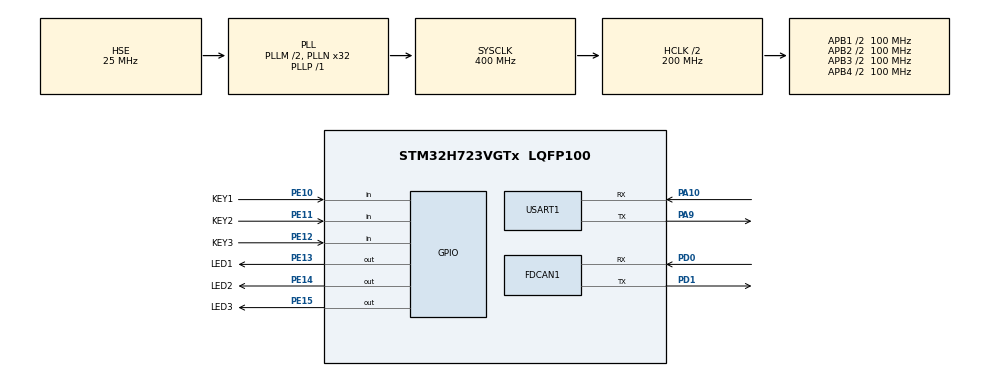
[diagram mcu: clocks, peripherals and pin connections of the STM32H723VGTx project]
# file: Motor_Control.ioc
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CORTEX_M7.default_mode_Activation=1
Dma.Request0=USART1_TX
Dma.Request1=USART1_RX
Dma.USART1_RX.1.Direction=DMA_PERIPH_TO_MEMORY
Dma.USART1_RX.1.EventEnable=DISABLE
Dma.USART1_RX.1.FIFOMode=DMA_FIFOMODE_DISABLE
Dma.USART1_RX.1.Instance=DMA1_Stream1
Dma.USART1_RX.1.MemDataAlignment=DMA_MDATAALIGN_BYTE
Dma.USART1_RX.1.MemInc=DMA_MINC_ENABLE
Dma.USART1_RX.1.Mode=DMA_NORMAL
Dma.USART1_RX.1.PeriphDataAlignment=DMA_PDATAALIGN_BYTE
Dma.USART1_RX.1.PeriphInc=DMA_PINC_DISABLE
Dma.USART1_RX.1.Polarity=HAL_DMAMUX_REQ_GEN_RISING
Dma.USART1_RX.1.Priority=DMA_PRIORITY_LOW
Dma.USART1_RX.1.RequestNumber=1
Dma.USART1_RX.1.SignalID=NONE
Dma.USART1_RX.1.SyncEnable=DISABLE
Dma.USART1_RX.1.SyncPolarity=HAL_DMAMUX_SYNC_NO_EVENT
Dma.USART1_RX.1.SyncRequestNumber=1
Dma.USART1_RX.1.SyncSignalID=NONE
Dma.USART1_TX.0.Direction=DMA_MEMORY_TO_PERIPH
Dma.USART1_TX.0.EventEnable=DISABLE
Dma.USART1_TX.0.FIFOMode=DMA_FIFOMODE_DISABLE
Dma.USART1_TX.0.Instance=DMA1_Stream0
Dma.USART1_TX.0.MemDataAlignment=DMA_MDATAALIGN_BYTE
Dma.USART1_TX.0.MemInc=DMA_MINC_ENABLE
Dma.USART1_TX.0.Mode=DMA_NORMAL
Dma.USART1_TX.0.PeriphDataAlignment=DMA_PDATAALIGN_BYTE
Dma.USART1_TX.0.PeriphInc=DMA_PINC_DISABLE
Dma.USART1_TX.0.Polarity=HAL_DMAMUX_REQ_GEN_RISING
Dma.USART1_TX.0.Priority=DMA_PRIORITY_LOW
Dma.USART1_TX.0.RequestNumber=1
Dma.USART1_TX.0.SignalID=NONE
Dma.USART1_TX.0.SyncEnable=DISABLE
Dma.USART1_TX.0.SyncPolarity=HAL_DMAMUX_SYNC_NO_EVENT
Dma.USART1_TX.0.SyncRequestNumber=1
Dma.USART1_TX.0.SyncSignalID=NONE
FDCAN1.AutoRetransmission=DISABLE
FDCAN1.CalculateBaudRateNominal=1000000
FDCAN1.CalculateTimeBitNominal=1000
FDCAN1.CalculateTimeQuantumNominal=25.0
FDCAN1.DataPrescaler=1
FDCAN1.DataTimeSeg1=1
FDCAN1.DataTimeSeg2=1
FDCAN1.ExtFiltersNbr=1
FDCAN1.FrameFormat=FDCAN_FRAME_CLASSIC
FDCAN1.Mode=FDCAN_MODE_NORMAL
FDCAN1.NominalPrescaler=2
FDCAN1.NominalSyncJumpWidth=8
FDCAN1.NominalTimeSeg1=31
FDCAN1.NominalTimeSeg2=8
FDCAN1.RxBuffersNbr=0
FDCAN1.RxFifo0ElmtsNbr=1
FDCAN1.RxFifo1ElmtsNbr=0
FDCAN1.TxFifoQueueElmtsNbr=1
Mcu.Family=STM32H7
Mcu.Name=STM32H723VGTx
Mcu.Package=LQFP100
NVIC.DMA1_Stream0_IRQn=true\:0\:0\:false\:false\:true\:false\:true\:true
NVIC.DMA1_Stream1_IRQn=true\:0\:0\:false\:false\:true\:false\:true\:true
NVIC.FDCAN1_IT0_IRQn=true\:0\:0\:false\:false\:true\:true\:true\:true
NVIC.PriorityGroup=NVIC_PRIORITYGROUP_4
NVIC.USART1_IRQn=true\:0\:0\:false\:false\:true\:true\:true\:true
PA10.Mode=Asynchronous
PA10.Signal=USART1_RX
PA9.Mode=Asynchronous
PA9.Signal=USART1_TX
PD0.GPIO_PuPd=GPIO_PULLUP
PD0.GPIO_Speed=GPIO_SPEED_FREQ_HIGH
PD0.Mode=FDCAN_Activate
PD0.Signal=FDCAN1_RX
PD1.GPIO_PuPd=GPIO_PULLUP
PD1.GPIO_Speed=GPIO_SPEED_FREQ_HIGH
PD1.Mode=FDCAN_Activate
PD1.Signal=FDCAN1_TX
PE10.GPIO_Label=KEY1
PE10.GPIO_PuPd=GPIO_PULLUP
PE10.Signal=GPIO_Input
PE11.GPIO_Label=KEY2
PE11.GPIO_PuPd=GPIO_PULLUP
PE11.Signal=GPIO_Input
PE12.GPIO_Label=KEY3
PE12.GPIO_PuPd=GPIO_PULLUP
PE12.Signal=GPIO_Input
PE13.GPIO_Label=LED1
PE13.PinState=GPIO_PIN_SET
PE13.Signal=GPIO_Output
PE14.GPIO_Label=LED2
PE14.GPIO_PuPd=GPIO_NOPULL
PE14.PinState=GPIO_PIN_SET
PE14.Signal=GPIO_Output
PE15.GPIO_Label=LED3
PE15.PinState=GPIO_PIN_SET
PE15.Signal=GPIO_Output
PH0-OSC_IN.Mode=HSE-External-Oscillator
PH0-OSC_IN.Signal=RCC_OSC_IN
PH1-OSC_OUT.Mode=HSE-External-Oscillator
PH1-OSC_OUT.Signal=RCC_OSC_OUT
ProjectManager.HeapSize=0x200
ProjectManager.StackSize=0x400
ProjectManager.TargetToolchain=MDK-ARM V5.32
RCC.ADCFreq_Value=100000000
RCC.APB1Freq_Value=100000000
RCC.APB2Freq_Value=100000000
RCC.APB3Freq_Value=100000000
RCC.APB4Freq_Value=100000000
RCC.CortexFreq_Value=400000000
RCC.D1PPRE=RCC_APB3_DIV2
RCC.D2PPRE1=RCC_APB1_DIV2
RCC.D2PPRE2=RCC_APB2_DIV2
RCC.D3PPRE=RCC_APB4_DIV2
RCC.DIVM1=2
RCC.DIVM2=2
RCC.DIVN1=32
RCC.DIVN2=16
RCC.DIVP1=1
RCC.DIVQ1=5
RCC.DIVQ2=4
RCC.HCLKFreq_Value=200000000
RCC.HPRE=RCC_HCLK_DIV2
RCC.PLL2FRACN=0
RCC.PLL3FRACN=0
RCC.PLLFRACN=0
RCC.PLLSourceVirtual=RCC_PLLSOURCE_HSE
RCC.SYSCLKFreq_VALUE=400000000
RCC.SYSCLKSource=RCC_SYSCLKSOURCE_PLLCLK
RCC.USBFreq_Value=80000000
USART1.VirtualMode-Asynchronous=VM_ASYNC
VP_MEMORYMAP_VS_MEMORYMAP.Mode=CurAppReg
board=custom

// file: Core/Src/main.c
/* USER CODE BEGIN Header */
/**
  ******************************************************************************
  * @file           : main.c
  * @brief          : Main program body
  ******************************************************************************
  * @attention
  *
  * Copyright (c) 2026 STMicroelectronics.
  * All rights reserved.
  *
  * This software is licensed under terms that can be found in the LICENSE file
  * in the root directory of this software component.
  * If no LICENSE file comes with this software, it is provided AS-IS.
  *
  ******************************************************************************
  */
/* USER CODE END Header */
#include "main.h"
#include "dma.h"
#include "fdcan.h"
#include "usart.h"
#include "gpio.h"
#include "RobStride.h"
/* USER CODE BEGIN Includes */
#include <string.h>
#include <stdio.h>
/* USER CODE END Includes */

/* USER CODE BEGIN PTD */
#define MASTER_ID 0xFD
#define MOTOR_ID 0x7F // 你的电机ID=127
// 电机使能运行ID（通信类型3）
#define MOTOR_ENABLE_ID ((0x03 << 24) | (0x00 << 16) | (MASTER_ID << 8) | MOTOR_ID)
// 运控模式控制ID（通信类型1）
#define MOTOR_CONTROL_ID ((0x01 << 24) | (0x00 << 16) | (MASTER_ID << 8) | MOTOR_ID)
// 测试帧ID（保留调试用）
#define TEST_FRAME_ID ((0x12 << 24) | (0x00 << 16) | (MASTER_ID << 8) | MOTOR_ID)

// AT帧格式：[0x41,0x54] + [4字节CAN_ID] + [1字节数据长度] + [N字节数据] + [0x0D,0x0A]
#define AT_FRAME_HEAD_1 0x41
#define AT_FRAME_HEAD_2 0x54
#define AT_FRAME_TAIL_1 0x0D
#define AT_FRAME_TAIL_2 0x0A
#define AT_FRAME_MAX_LEN 32 // 最大帧长度

// 官方库通信类型定义（和手册完全一致）
#define COMM_TYPE_MotionControl     0x01
#define COMM_TYPE_FEEDBACK  0x02  // 电机反馈
#define COMM_TYPE_ENABLE    0x03  // 电机使能
#define COMM_TYPE_DISABLE   0x04  // 电机失能
#define COMM_TYPE_SetPosZero        0x06
#define COMM_TYPE_Can_ID            0x07

#define COMM_TYPE_GET_PARAM 0x11  // 单个参数读取
#define COMM_TYPE_SET_PARAM 0x12  // 单个参数写入

// 参数索引定义（来自官方库参数表）
#define PARAM_RUN_MODE      0x7005  // 运行模式
#define TARGET_CURRENT      0x7006
#define PARAM_SPD_REF       0x700A  // 速度指令
#define PARAM_LOC_REF       0x7016  // 位置指令
#define PARAM_LIMIT_SPEED   0x7017
#define PARAM_LIMIT_CUR     0x7018  // 电流限制

// 运行模式定义
#define MODE_MOTION         0  // 运控模式
#define MODE_POSITION       1  // 位置模式
#define MODE_SPEED          2  // 速度模式
#define MODE_CURRENT        3  // 电流模式
#define MODE_Set_Zero       4

// AT帧解析状态机
typedef enum {
    AT_STATE_WAIT_HEAD1,
    AT_STATE_WAIT_HEAD2,
    AT_STATE_READ_CAN_ID,
    AT_STATE_READ_LEN,
    AT_STATE_READ_DATA,
    AT_STATE_WAIT_TAIL1,
    AT_STATE_WAIT_TAIL2
} AT_ParseState;

// AT帧结构体
typedef struct {
    uint32_t can_id;
    uint8_t data_len;
    uint8_t data[8];
} AT_Frame;

int fputc(int ch, FILE *f)
{
    HAL_UART_Transmit(&huart1, (uint8_t *)&ch, 1, 100);
    return ch;
}

/* USER CODE END PTD */

/* USER CODE BEGIN PV */
// AT帧解析相关
uint8_t at_rx_buf[AT_FRAME_MAX_LEN];
uint8_t at_rx_ptr = 0;
AT_ParseState at_parse_state = AT_STATE_WAIT_HEAD1;
AT_Frame at_rx_frame;

uint8_t receiveData[50];

uint8_t pRxdata[8], pTxdata[8];
RobStride_Motor RobStride_01(0x7F, false);

uint8_t mode = 0;

	// FDCAN全局变量
uint8_t FDCAN_RxData[8];
uint32_t FDCAN_RxId;
uint8_t FDCAN_RxLen;
uint8_t FDCAN_RxFlag = 0;
/* USER CODE END PV */

void SystemClock_Config(void);
static void MPU_Config(void);
/* USER CODE BEGIN PFP */

extern DMA_HandleTypeDef hdma_usart1_rx;

// 发送AT帧到串口
void AT_SendFrame(uint32_t can_id, uint8_t *data, uint8_t len)
{
    uint8_t buf[AT_FRAME_MAX_LEN];
    buf[0] = AT_FRAME_HEAD_1;
    buf[1] = AT_FRAME_HEAD_2;
    // CAN_ID大端序（和厂家一致）
    buf[2] = (can_id >> 24) & 0xFF;
    buf[3] = (can_id >> 16) & 0xFF;
    buf[4] = (can_id >> 8) & 0xFF;
    buf[5] = can_id & 0xFF;
    buf[6] = len;
    // 数据
    memcpy(&buf[7], data, len);
    // 帧尾
    buf[7 + len] = AT_FRAME_TAIL_1;
    buf[8 + len] = AT_FRAME_TAIL_2;
    // 发送
    HAL_UART_Transmit_DMA(&huart1, buf, 9 + len);
}

//CAN
/************************** FDCAN核心函数 **************************/
/**
 * @brief  FDCAN发送经典CAN 2.0B扩展帧
 * @param  can_id 29位扩展ID（高3位为0）
 * @param  data 数据指针（0~8字节）
 * @param  len 数据长度
 * @retval 0成功，1失败
 */
uint8_t FDCAN_SendExtFrame(uint32_t can_id, uint8_t *data, uint8_t len)
{
     FDCAN_TxHeaderTypeDef TxHeader = {0};
    if (len > 8) return 1;
    if (HAL_FDCAN_GetTxFifoFreeLevel(&hfdcan1) == 0) return 1;

    TxHeader.Identifier = can_id & 0x1FFFFFFF;
    TxHeader.IdType = FDCAN_EXTENDED_ID;
    TxHeader.TxFrameType = FDCAN_DATA_FRAME;
    TxHeader.DataLength = len;  // 经典CAN模式直接赋值len
    TxHeader.ErrorStateIndicator = FDCAN_ESI_ACTIVE;
    TxHeader.BitRateSwitch = FDCAN_BRS_OFF;
    TxHeader.FDFormat = FDCAN_CLASSIC_CAN;
    TxHeader.TxEventFifoControl = FDCAN_NO_TX_EVENTS;
    TxHeader.MessageMarker = 0;

    return (HAL_FDCAN_AddMessageToTxFifoQ(&hfdcan1, &TxHeader, data) == HAL_OK) ? 0 : 1;
}
/************************** 接收中断回调（处理电机反馈）**************************/
void HAL_FDCAN_RxFifo0Callback(FDCAN_HandleTypeDef *hfdcan, uint32_t RxFifo0ITs)
{
    if ((RxFifo0ITs & FDCAN_IT_RX_FIFO0_NEW_MESSAGE) != RESET)
    {
        FDCAN_RxHeaderTypeDef RxHeader;
        if (HAL_FDCAN_GetRxMessage(hfdcan, FDCAN_RX_FIFO0, &RxHeader, FDCAN_RxData) == HAL_OK)
        {
            if (RxHeader.IdType == FDCAN_EXTENDED_ID)
            {
//                FDCAN_RxId = RxHeader.Identifier;
//                FDCAN_RxLen = RxHeader.DataLength >> 16;// 经典CAN模式需要右移16位
//                FDCAN_RxFlag = 1;
							 // 解析厂家类库
                RobStride_01.RobStride_Motor_Analysis(FDCAN_RxData, RxHeader.Identifier);
                // ✅ 封装成AT帧回传给Unity
                AT_SendFrame(RxHeader.Identifier, FDCAN_RxData, RxHeader.DataLength & 0x0F);
                // 翻转LED3表示收到CAN反馈
                HAL_GPIO_TogglePin(GPIOE, LED3_Pin);
							FDCAN_RxFlag = 1;
            }
        }
    }
}

/************************** 节点1：电机使能/失能 **************************/
/**
 * @brief  电机使能（官方库通信类型3）
 * @retval 0成功
 */
uint8_t Motor_Enable(void)
{
    uint8_t data[8] = {0};
    uint32_t can_id = (COMM_TYPE_ENABLE << 24) | (MASTER_ID << 8) | MOTOR_ID;
    return FDCAN_SendExtFrame(can_id, data, 8);
}

/**
 * @brief  电机失能（官方库通信类型4）
 * @param  clear_error 0=不清除错误 1=清除错误
 * @retval 0成功
 */
uint8_t Motor_Disable(uint8_t clear_error)
{
    uint8_t data[8] = {0};
    data[0] = clear_error;
    uint32_t can_id = (COMM_TYPE_DISABLE << 24) | (MASTER_ID << 8) | MOTOR_ID;
    return FDCAN_SendExtFrame(can_id, data, 8);
}

/************************** 节点2：单个参数写入 **************************/
/**
 * @brief  写入单个参数（官方库通信类型18）
 * @param  index 参数索引
 * @param  value 参数值（浮点数）
 * @retval 0成功
 */
uint8_t Motor_SetParam(uint16_t index, float value)
{
  uint8_t data[8] = {0};

    // Byte0~1：参数索引（低字节在前，和官方库完全一致）
    data[0] = index & 0xFF;
    data[1] = (index >> 8) & 0xFF;

    // Byte4~7：参数值（IEEE754单精度浮点数，低字节在前）
    memcpy(&data[4], &value, 4);

    uint32_t can_id = (COMM_TYPE_SET_PARAM << 24) | (MASTER_ID << 8) | MOTOR_ID;
    return FDCAN_SendExtFrame(can_id, data, 8);
}

/************************** 节点2.5：单字节模式写入 **************************/
/**
 * @brief  写入运行模式（单字节模式，对应官方库'j'模式）
 * @param  index 参数索引
 * @param  mode 模式值（0=MOTION, 1=POSITION, 2=SPEED, 3=CURRENT, 4=ZERO）
 * @retval 0成功
 */
uint8_t Motor_SetParamMode(uint16_t index, uint8_t mode)
{
    uint8_t data[8] = {0};
    data[0] = index & 0xFF;
    data[1] = (index >> 8) & 0xFF;
    data[4] = mode;  // 'j' mode: single byte, not float32
    uint32_t can_id = (COMM_TYPE_SET_PARAM << 24) | (MASTER_ID << 8) | MOTOR_ID;
    return FDCAN_SendExtFrame(can_id, data, 8);
}

/************************** 节点3：速度模式控制 **************************/
/**
 * @brief  进入速度模式并设置速度
 * @param  speed 目标速度(rad/s)，范围-44~44
 * @param  current_limit 电流限制(A)，范围0~23
 * @retval 0成功
 */
uint8_t Motor_EnterSpeedMode(float speed, float current_limit)
{
    // 1. 先失能电机
    Motor_Disable(1);
    HAL_Delay(100);

    // 2. 设置运行模式为速度模式（单字节格式，对应官方库'j'模式）
    if(Motor_SetParamMode(PARAM_RUN_MODE, MODE_SPEED) != 0) return 1;
    HAL_Delay(100);

    // 3. 设置电流限制
    if(Motor_SetParam(PARAM_LIMIT_CUR, current_limit) != 0) return 1;
    HAL_Delay(100);

    // 4. 设置初始速度为0
    if(Motor_SetParam(PARAM_SPD_REF, 0.0f) != 0) return 1;
    HAL_Delay(100);

    // 5. 使能电机
    if(Motor_Enable() != 0) return 1;
    HAL_Delay(100);

    // 6. 设置目标速度
    if(Motor_SetParam(PARAM_SPD_REF, speed) != 0) return 1;

    return 0;
}
/************************** 节点5：反馈数据解析 **************************/
typedef struct {
    float position;  // 当前位置(rad)
    float speed;     // 当前速度(rad/s)
    float current;   // 当前电流(A)
    float temp;      // 当前温度(℃)
    uint8_t error;   // 错误码
    const char* error_msg; // 错误信息
} Motor_Feedback_t;

// ✅ 厂家官方错误码解析表（手册4.1.10）
const char* Motor_GetErrorMsg(uint8_t error)
{
    if(error == 0x00) return "no error";
    if(error & 0x01) return "over voltage";    // 过压
    if(error & 0x02) return "driver fault";    // 驱动芯片故障
    if(error & 0x04) return "over temp";       // 过温
    if(error & 0x08) return "encoder fault";   // 磁编码故障
    if(error & 0x10) return "overload";        // 过载
    if(error & 0x20) return "not calibrated";  // 未标定
    if(error & 0x80) return "hall fault";      // HALL编码故障
    return "unknown error";
}

Motor_Feedback_t Motor_ParseFeedback(uint32_t can_id, uint8_t *data)
{
    Motor_Feedback_t fb = {0};

    // 只解析通信类型2的反馈帧
    if(((can_id >> 24) & 0xFF) == COMM_TYPE_FEEDBACK)
    {
        // 解析错误码
        fb.error = (can_id >> 16) & 0xFF;
        fb.error_msg = Motor_GetErrorMsg(fb.error);

     // ✅ 修复1：大端序！高字节在前（手册明确要求）
        // 解析位置（Byte0~1，无符号16位，映射到-4π~4π）
        uint16_t pos_raw = (data[0] << 8) | data[1];
        fb.position = (pos_raw - 32768.0f) * 4.0f * 3.1415926535f / 32768.0f;

        // 解析速度（Byte2~3，无符号16位，映射到-44~44rad/s）
        uint16_t speed_raw = (data[2] << 8) | data[3];
        fb.speed = (speed_raw - 32768.0f) * 44.0f / 32768.0f;

        // 解析电流（Byte4~5，无符号16位，映射到-17~17A）
        uint16_t current_raw = (data[4] << 8) | data[5];
        fb.current = (current_raw - 32768.0f) * 17.0f / 32768.0f;

        // 解析温度（Byte6~7，大端序，乘以0.1）
        uint16_t temp_raw = (data[6] << 8) | data[7];
        fb.temp = temp_raw * 0.1f;
    }

    return fb;
}

uint8_t Motor_DisableHallFault(void)
{
    // 参数索引0x7028：HALL故障检测开关（0=关闭，1=开启）
    // 这是厂家扩展参数，所有RobStride电机通用
    return Motor_SetParam(0x7028, 0.0f);
}

void HAL_UARTEx_RxEventCallback(UART_HandleTypeDef *huart, uint16_t Size)
{
    if(huart == &huart1)
    {
        for(int i = 0; i < Size; i++)
        {
            uint8_t ch = receiveData[i];
            switch(at_parse_state)
            {
                case AT_STATE_WAIT_HEAD1:
                    if(ch == AT_FRAME_HEAD_1) at_parse_state = AT_STATE_WAIT_HEAD2;
                    break;
                case AT_STATE_WAIT_HEAD2:
                    if(ch == AT_FRAME_HEAD_2)
                    {
                        at_parse_state = AT_STATE_READ_CAN_ID;
                        at_rx_ptr = 0;
                    }
                    else at_parse_state = AT_STATE_WAIT_HEAD1;
                    break;
                case AT_STATE_READ_CAN_ID:
                    at_rx_buf[at_rx_ptr++] = ch;
                    if(at_rx_ptr == 4)
                    {
                        at_rx_frame.can_id = (at_rx_buf[0] << 24) | (at_rx_buf[1] << 16) | (at_rx_buf[2] << 8) | at_rx_buf[3];
                        at_parse_state = AT_STATE_READ_LEN;
                        at_rx_ptr = 0;
                    }
                    break;
                case AT_STATE_READ_LEN:
                    at_rx_frame.data_len = ch;
                    if(at_rx_frame.data_len > 8) at_rx_frame.data_len = 8;
                    at_parse_state = AT_STATE_READ_DATA;
                    at_rx_ptr = 0;
                    break;
                case AT_STATE_READ_DATA:
                    at_rx_frame.data[at_rx_ptr++] = ch;
                    if(at_rx_ptr == at_rx_frame.data_len)
                        at_parse_state = AT_STATE_WAIT_TAIL1;
                    break;
                case AT_STATE_WAIT_TAIL1:
                    if(ch == AT_FRAME_TAIL_1) at_parse_state = AT_STATE_WAIT_TAIL2;
                    else at_parse_state = AT_STATE_WAIT_HEAD1;
                    break;
                case AT_STATE_WAIT_TAIL2:
                    if(ch == AT_FRAME_TAIL_2)
                    {
                        FDCAN_SendExtFrame(at_rx_frame.can_id, at_rx_frame.data, at_rx_frame.data_len);
                        HAL_GPIO_TogglePin(GPIOE, LED2_Pin);
                    }
                    at_parse_state = AT_STATE_WAIT_HEAD1;
                    break;
                default:
                    at_parse_state = AT_STATE_WAIT_HEAD1;
                    break;
            }
        }
        HAL_UARTEx_ReceiveToIdle_DMA(&huart1, receiveData, sizeof(receiveData));
        __HAL_DMA_DISABLE_IT(&hdma_usart1_rx, DMA_IT_HT);
    }
}
                    else at_parse_state = AT_STATE_WAIT_HEAD1;
                    break;
                case AT_STATE_READ_CAN_ID:
                    at_rx_buf[at_rx_ptr++] = ch;
                    if(at_rx_ptr == 4)
                    {
                        // 解析CAN_ID（大端序）
                        at_rx_frame.can_id = (at_rx_buf[0] << 24) | (at_rx_buf[1] << 16) | (at_rx_buf[2] << 8) | at_rx_buf[3];
                        at_parse_state = AT_STATE_READ_LEN;
                        at_rx_ptr = 0;
                    }
                    break;
                case AT_STATE_READ_LEN:
                    at_rx_frame.data_len = ch;
                    if(at_rx_frame.data_len > 8) at_rx_frame.data_len = 8; // 限制最大8字节
                    at_parse_state = AT_STATE_READ_DATA;
                    at_rx_ptr = 0;
                    break;
                case AT_STATE_READ_DATA:
                    at_rx_frame.data[at_rx_ptr++] = ch;
                    if(at_rx_ptr == at_rx_frame.data_len)
                    {
                        at_parse_state = AT_STATE_WAIT_TAIL1;
                    }
                    break;
                case AT_STATE_WAIT_TAIL1:
                    if(ch == AT_FRAME_TAIL_1) at_parse_state = AT_STATE_WAIT_TAIL2;
                    else at_parse_state = AT_STATE_WAIT_HEAD1;
                    break;
                case AT_STATE_WAIT_TAIL2:
                    if(ch == AT_FRAME_TAIL_2)
                    {
                        // ✅ 收到完整AT帧，发送到CAN总线
                        FDCAN_SendExtFrame(at_rx_frame.can_id, at_rx_frame.data, at_rx_frame.data_len);
                        // 翻转LED2表示收到指令
                        HAL_GPIO_TogglePin(GPIOE, LED2_Pin);
                    }
                    at_parse_state = AT_STATE_WAIT_HEAD1;
                    break;
                default:
                    at_parse_state = AT_STATE_WAIT_HEAD1;
                    break;
//   HAL_UART_Transmit_DMA(&huart1, receiveData,Size);
//	 if(receiveData[0]==0xAA)
//	 {
//	  if (receiveData[1]==Size)
//		 {
//		  uint8_t sum=0;
//			for (int i=0;i<Size-1 ; i++)  sum+=receiveData[i];
//			if (sum==receiveData[Size -1])
//			{
//
//		  	 for (int i=2;i<Size-1;i+=2)
//				{
//					GPIO_PinState state = GPIO_PIN_SET;
//				  if (receiveData[i+1] == 0x00)  state = GPIO_PIN_RESET;
//					if (receiveData[i] == 0x01)
//					HAL_GPIO_WritePin(GPIOE,LED1_Pin, state) ;
//					else if (receiveData[i] == 0x02)
//					HAL_GPIO_WritePin(GPIOE,LED2_Pin, state) ;
//					else if (receiveData[i] == 0x03)
//					HAL_GPIO_WritePin(GPIOE,LED3_Pin, state) ;
//				}
//			}
//		 }
//	 }
        }
		 }
	 }
	 HAL_UARTEx_ReceiveToIdle_DMA(&huart1, receiveData,sizeof(receiveData));
   __HAL_DMA_DISABLE_IT(&hdma_usart1_rx,DMA_IT_HT);

 }
/* USER CODE END PFP */

int main(void)
{

  /* MPU Configuration--------------------------------------------------------*/
  MPU_Config();

  /* MCU Configuration--------------------------------------------------------*/

  /* Reset of all peripherals, Initializes the Flash interface and the Systick. */
  HAL_Init();

  /* Configure the system clock */
  SystemClock_Config();

  /* Initialize all configured peripherals */
  MX_GPIO_Init();
  MX_DMA_Init();
  MX_USART1_UART_Init();
  MX_FDCAN1_Init();
  /* USER CODE BEGIN 2 */
HAL_UARTEx_ReceiveToIdle_DMA(&huart1, receiveData, sizeof(receiveData));
    __HAL_DMA_DISABLE_IT(&hdma_usart1_rx, DMA_IT_HT);

// 配置FDCAN

    if(FDCAN_FilterConfig()!= 0)
        printf("FDCAN filter set failed！\r\n");
    else
        printf("FDCAN filter set seccessfully\r\n");

    if(HAL_FDCAN_Start(&hfdcan1) != HAL_OK)
        printf("FDCAN set failed!\r\n");
    else
        printf("FDCAN set seccessfully\r\n");
		HAL_FDCAN_ActivateNotification(&hfdcan1, FDCAN_IT_RX_FIFO0_NEW_MESSAGE, 0);
 // ... 前面的初始化代码不变 ...
    printf("KEY1：进入速度模式，速度5rad/s，电流限制10A\r\n");
    printf("KEY2：停止电机（速度设为0）\r\n");
    printf("KEY3：失能电机\r\n");

   uint8_t motor_running = 0;
    uint32_t print_cnt = 0;
    while (1)
    {

		 if(FDCAN_RxFlag)
        {
            Motor_Feedback_t fb = Motor_ParseFeedback(FDCAN_RxId, FDCAN_RxData);

            // 每500ms打印一次（更流畅）
            if(print_cnt % 10 == 0)
            {
                // ✅ 纯英文输出，彻底避免乱码
                printf("Pos: %.2f rad | Spd: %.2f rad/s | Cur: %.2f A | Temp: %.1f C | Err: 0x%02X (%s)\r\n",
                       fb.position, fb.speed, fb.current, fb.temp, fb.error, fb.error_msg);
            }

            print_cnt++;
            FDCAN_RxFlag = 0;
        }
uint8_t key = KEY_Scan();

        if(key == KEY1_PRES && !motor_running)
        {
            printf("Clearing errors...\r\n");
            Motor_Disable(1); // 清除所有错误
            HAL_Delay(200);

            printf("Entering speed mode...\r\n");
            if(Motor_EnterSpeedMode(5.0f, 10.0f) == 0)
            {
                printf("Speed mode started successfully!\r\n");
                motor_running = 1;
                HAL_GPIO_WritePin(GPIOE, LED2_Pin, GPIO_PIN_RESET);
            }
            else
            {
                printf("Speed mode start failed!\r\n");
            }
        }
        else if(key == KEY2_PRES && motor_running)
        {
            if(Motor_SetParam(PARAM_SPD_REF, 0.0f) == 0)
            {
                printf("Motor stopped\r\n");
                motor_running = 0;
            }
            else
            {
                printf("Motor stop failed\r\n");
            }
        }
        else if(key == KEY3_PRES)
        {
            Motor_Disable(1);
            printf("Motor disabled\r\n");
            motor_running = 0;
            HAL_GPIO_WritePin(GPIOE, LED2_Pin, GPIO_PIN_SET);
        }

        // 持续发送速度指令
        if(motor_running)
        {
            Motor_SetParam(PARAM_SPD_REF, 5.0f);
        }

        HAL_GPIO_TogglePin(GPIOE, LED1_Pin);
        HAL_Delay(50);
    }
  /* USER CODE END 3 */
}

void SystemClock_Config(void)
{
  RCC_OscInitTypeDef RCC_OscInitStruct = {0};
  RCC_ClkInitTypeDef RCC_ClkInitStruct = {0};

  /** Supply configuration update enable
  */
  HAL_PWREx_ConfigSupply(PWR_LDO_SUPPLY);

  /** Configure the main internal regulator output voltage
  */
  __HAL_PWR_VOLTAGESCALING_CONFIG(PWR_REGULATOR_VOLTAGE_SCALE1);

  while(!__HAL_PWR_GET_FLAG(PWR_FLAG_VOSRDY)) {}

  /** Initializes the RCC Oscillators according to the specified parameters
  * in the RCC_OscInitTypeDef structure.
  */
  RCC_OscInitStruct.OscillatorType = RCC_OSCILLATORTYPE_HSE;
  RCC_OscInitStruct.HSEState = RCC_HSE_ON;
  RCC_OscInitStruct.PLL.PLLState = RCC_PLL_ON;
  RCC_OscInitStruct.PLL.PLLSource = RCC_PLLSOURCE_HSE;
  RCC_OscInitStruct.PLL.PLLM = 2;
  RCC_OscInitStruct.PLL.PLLN = 32;
  RCC_OscInitStruct.PLL.PLLP = 1;
  RCC_OscInitStruct.PLL.PLLQ = 5;
  RCC_OscInitStruct.PLL.PLLR = 2;
  RCC_OscInitStruct.PLL.PLLRGE = RCC_PLL1VCIRANGE_3;
  RCC_OscInitStruct.PLL.PLLVCOSEL = RCC_PLL1VCOWIDE;
  RCC_OscInitStruct.PLL.PLLFRACN = 0;
  if (HAL_RCC_OscConfig(&RCC_OscInitStruct) != HAL_OK)
  {
    Error_Handler();
  }

  /** Initializes the CPU, AHB and APB buses clocks
  */
  RCC_ClkInitStruct.ClockType = RCC_CLOCKTYPE_HCLK|RCC_CLOCKTYPE_SYSCLK
                              |RCC_CLOCKTYPE_PCLK1|RCC_CLOCKTYPE_PCLK2
                              |RCC_CLOCKTYPE_D3PCLK1|RCC_CLOCKTYPE_D1PCLK1;
  RCC_ClkInitStruct.SYSCLKSource = RCC_SYSCLKSOURCE_PLLCLK;
  RCC_ClkInitStruct.SYSCLKDivider = RCC_SYSCLK_DIV1;
  RCC_ClkInitStruct.AHBCLKDivider = RCC_HCLK_DIV2;
  RCC_ClkInitStruct.APB3CLKDivider = RCC_APB3_DIV2;
  RCC_ClkInitStruct.APB1CLKDivider = RCC_APB1_DIV2;
  RCC_ClkInitStruct.APB2CLKDivider = RCC_APB2_DIV2;
  RCC_ClkInitStruct.APB4CLKDivider = RCC_APB4_DIV2;

  if (HAL_RCC_ClockConfig(&RCC_ClkInitStruct, FLASH_LATENCY_2) != HAL_OK)
  {
    Error_Handler();
  }
}

/* USER CODE BEGIN 4 */

void HAL_FDCAN_ErrorCallback(FDCAN_HandleTypeDef *hfdcan)
{
    /* HAL FDCAN Error callback uses only the handle; read error via HAL_FDCAN_GetError */
    uint32_t Error = HAL_FDCAN_GetError(hfdcan);
    char buf[64];
    int len = snprintf(buf, sizeof(buf), "FDCAN Error: 0x%08lX\r\n", (unsigned long)Error);
    HAL_UART_Transmit_DMA(&huart1, (uint8_t*)buf, len);
    // Toggle LED3 to indicate error
    HAL_GPIO_TogglePin(GPIOE, LED3_Pin);
}

/* USER CODE END 4 */

 /* MPU Configuration */

void MPU_Config(void)
{
  MPU_Region_InitTypeDef MPU_InitStruct = {0};

  /* Disables the MPU */
  HAL_MPU_Disable();

  /** Initializes and configures the Region and the memory to be protected
  */
  MPU_InitStruct.Enable = MPU_REGION_ENABLE;
  MPU_InitStruct.Number = MPU_REGION_NUMBER0;
  MPU_InitStruct.BaseAddress = 0x0;
  MPU_InitStruct.Size = MPU_REGION_SIZE_4GB;
  MPU_InitStruct.SubRegionDisable = 0x87;
  MPU_InitStruct.TypeExtField = MPU_TEX_LEVEL0;
  MPU_InitStruct.AccessPermission = MPU_REGION_NO_ACCESS;
  MPU_InitStruct.DisableExec = MPU_INSTRUCTION_ACCESS_DISABLE;
  MPU_InitStruct.IsShareable = MPU_ACCESS_SHAREABLE;
  MPU_InitStruct.IsCacheable = MPU_ACCESS_NOT_CACHEABLE;
  MPU_InitStruct.IsBufferable = MPU_ACCESS_NOT_BUFFERABLE;

  HAL_MPU_ConfigRegion(&MPU_InitStruct);
  /* Enables the MPU */
  HAL_MPU_Enable(MPU_PRIVILEGED_DEFAULT);

}

void Error_Handler(void)
{
  __disable_irq();
  while (1)
  {
  }
}
